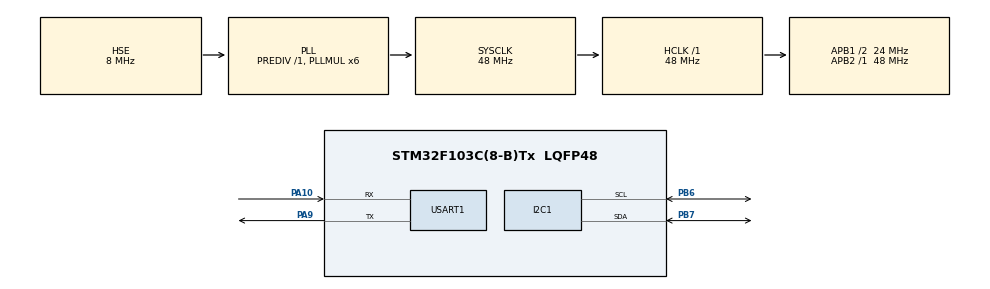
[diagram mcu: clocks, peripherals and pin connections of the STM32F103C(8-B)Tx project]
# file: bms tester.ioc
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FREERTOS.Tasks01=defaultTask,24,128,StartDefaultTask,Default,NULL,Dynamic,NULL,NULL
FREERTOS.configUSE_NEWLIB_REENTRANT=1
FREERTOS.configUSE_TICKLESS_IDLE=1
I2C1.I2C_Mode=I2C_Fast
Mcu.Family=STM32F1
Mcu.Name=STM32F103C(8-B)Tx
Mcu.Package=LQFP48
NVIC.I2C1_EV_IRQn=true\:5\:0\:false\:false\:true\:true\:true\:true\:true
NVIC.PriorityGroup=NVIC_PRIORITYGROUP_4
NVIC.TIM2_IRQn=true\:15\:0\:false\:false\:true\:false\:false\:true\:true
NVIC.TimeBase=TIM2_IRQn
NVIC.TimeBaseIP=TIM2
NVIC.USART1_IRQn=true\:5\:0\:false\:false\:true\:true\:true\:true\:true
PA10.Mode=Asynchronous
PA10.Signal=USART1_RX
PA13.Mode=Serial_Wire
PA13.Signal=SYS_JTMS-SWDIO
PA14.Mode=Serial_Wire
PA14.Signal=SYS_JTCK-SWCLK
PA9.Mode=Asynchronous
PA9.Signal=USART1_TX
PB6.Mode=I2C
PB6.Signal=I2C1_SCL
PB7.Mode=I2C
PB7.Signal=I2C1_SDA
PD0-OSC_IN.Mode=HSE-External-Oscillator
PD0-OSC_IN.Signal=RCC_OSC_IN
PD1-OSC_OUT.Mode=HSE-External-Oscillator
PD1-OSC_OUT.Signal=RCC_OSC_OUT
ProjectManager.HeapSize=0x200
ProjectManager.StackSize=0x400
ProjectManager.TargetToolchain=STM32CubeIDE
RCC.AHBFreq_Value=48000000
RCC.APB1CLKDivider=RCC_HCLK_DIV2
RCC.APB1Freq_Value=24000000
RCC.APB1TimFreq_Value=48000000
RCC.APB2Freq_Value=48000000
RCC.APB2TimFreq_Value=48000000
RCC.HCLKFreq_Value=48000000
RCC.PLLMUL=RCC_PLL_MUL6
RCC.PLLSourceVirtual=RCC_PLLSOURCE_HSE
RCC.SYSCLKFreq_VALUE=48000000
RCC.SYSCLKSource=RCC_SYSCLKSOURCE_PLLCLK
RCC.USBFreq_Value=48000000
USART1.VirtualMode=VM_ASYNC
VP_FREERTOS_VS_CMSIS_V2.Mode=CMSIS_V2
VP_SYS_VS_tim2.Mode=TIM2
board=custom

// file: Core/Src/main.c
/* USER CODE BEGIN Header */
/**
 ******************************************************************************
 * @file           : main.c
 * @brief          : Main program body
 ******************************************************************************
 * @attention
 *
 * Copyright (c) 2025 STMicroelectronics.
 * All rights reserved.
 *
 * This software is licensed under terms that can be found in the LICENSE file
 * in the root directory of this software component.
 * If no LICENSE file comes with this software, it is provided AS-IS.
 *
 ******************************************************************************
 */
/* USER CODE END Header */
#include "main.h"
#include "cmsis_os.h"
#include "i2c.h"
#include "usart.h"
#include "gpio.h"

/* USER CODE BEGIN Includes */
#include "FreeRTOS.h"
#include "task.h"
#include "ssd1306.h"
#include "my_config.h"
/* USER CODE END Includes */

/* USER CODE BEGIN PV */
extern TaskHandle_t dataShowHandle;
// Массив структур
extern BmsData bmsData[];

// Размер буфера для приёма данных указываем максимального размера
uint8_t rxData[RX_BUFSIZE] = { 0, };
/* USER CODE END PV */

void SystemClock_Config(void);
void MX_FREERTOS_Init(void);

int main(void) {

  /* MCU Configuration--------------------------------------------------------*/

  /* Reset of all peripherals, Initializes the Flash interface and the Systick. */
  HAL_Init();

  /* Configure the system clock */
  SystemClock_Config();

  /* Initialize all configured peripherals */
  MX_GPIO_Init();
  MX_I2C1_Init();
  MX_USART1_UART_Init();
  /* USER CODE BEGIN 2 */
  ssd1306_Init();
  HAL_UART_Receive_IT(&huart1, rxData, bmsData[0].rxBufSize);
  /* USER CODE END 2 */

  /* Init scheduler */
  osKernelInitialize(); /* Call init function for freertos objects (in cmsis_os2.c) */
  MX_FREERTOS_Init();

  /* Start scheduler */
  osKernelStart();

  /* We should never get here as control is now taken by the scheduler */

  /* Infinite loop */
  while (1) {

  }
}

void SystemClock_Config(void) {
  RCC_OscInitTypeDef RCC_OscInitStruct = { 0 };
  RCC_ClkInitTypeDef RCC_ClkInitStruct = { 0 };

  /** Initializes the RCC Oscillators according to the specified parameters
   * in the RCC_OscInitTypeDef structure.
   */
  RCC_OscInitStruct.OscillatorType = RCC_OSCILLATORTYPE_HSE;
  RCC_OscInitStruct.HSEState = RCC_HSE_ON;
  RCC_OscInitStruct.HSEPredivValue = RCC_HSE_PREDIV_DIV1;
  RCC_OscInitStruct.HSIState = RCC_HSI_ON;
  RCC_OscInitStruct.PLL.PLLState = RCC_PLL_ON;
  RCC_OscInitStruct.PLL.PLLSource = RCC_PLLSOURCE_HSE;
  RCC_OscInitStruct.PLL.PLLMUL = RCC_PLL_MUL6;
  if (HAL_RCC_OscConfig(&RCC_OscInitStruct) != HAL_OK) {
    Error_Handler();
  }

  /** Initializes the CPU, AHB and APB buses clocks
   */
  RCC_ClkInitStruct.ClockType = RCC_CLOCKTYPE_HCLK | RCC_CLOCKTYPE_SYSCLK | RCC_CLOCKTYPE_PCLK1 | RCC_CLOCKTYPE_PCLK2;
  RCC_ClkInitStruct.SYSCLKSource = RCC_SYSCLKSOURCE_PLLCLK;
  RCC_ClkInitStruct.AHBCLKDivider = RCC_SYSCLK_DIV1;
  RCC_ClkInitStruct.APB1CLKDivider = RCC_HCLK_DIV2;
  RCC_ClkInitStruct.APB2CLKDivider = RCC_HCLK_DIV1;

  if (HAL_RCC_ClockConfig(&RCC_ClkInitStruct, FLASH_LATENCY_1) != HAL_OK) {
    Error_Handler();
  }
}

/* USER CODE BEGIN 4 */
void HAL_UART_RxCpltCallback(UART_HandleTypeDef *huart) {
  if (huart->Instance == USART1) {
    BaseType_t xHigherPriorityTaskWoken = pdFALSE;

    // Отправляем уведомление задаче
    vTaskNotifyGiveFromISR(dataShowHandle, &xHigherPriorityTaskWoken);

    // Если задача taskBatMonitorHandle высокий приоритет, выполняем переключение контекста
    portYIELD_FROM_ISR(xHigherPriorityTaskWoken);
  }
}
/* USER CODE END 4 */

void HAL_TIM_PeriodElapsedCallback(TIM_HandleTypeDef *htim) {
  if (htim->Instance == TIM2) {
    HAL_IncTick();
  }
}

void Error_Handler(void) {
  __disable_irq();
  while (1) {
  }
}

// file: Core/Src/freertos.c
/* USER CODE BEGIN Header */
/**
 ******************************************************************************
 * File Name          : freertos.c
 * Description        : Code for freertos applications
 ******************************************************************************
 * @attention
 *
 * Copyright (c) 2025 STMicroelectronics.
 * All rights reserved.
 *
 * This software is licensed under terms that can be found in the LICENSE file
 * in the root directory of this software component.
 * If no LICENSE file comes with this software, it is provided AS-IS.
 *
 ******************************************************************************
 */
/* USER CODE END Header */

#include "FreeRTOS.h"
#include "task.h"
#include "main.h"
#include "cmsis_os.h"

/* USER CODE BEGIN Includes */
#include <stdio.h>
#include <stdbool.h>
#include <string.h>
#include "semphr.h"
#include "ssd1306.h"
#include "ssd1306_fonts.h"
#include "my_config.h"
/* USER CODE END Includes */

/* USER CODE BEGIN Variables */
// Дескрипторы задач
TaskHandle_t countShowHandle;
TaskHandle_t dataShowHandle;
// Все ошибки складываем в одну переменную
bool isError = false;
// Позиция в структуре адресов запросов
size_t addrCount = 0;

extern UART_HandleTypeDef huart1;
// Массив структур
extern BmsData bmsData[];
// Количество элементов массива bmsData[]
extern const size_t bmsDataCount;
// Размер буфера для приёма данных указываем максимального размера
extern uint8_t rxData[RX_BUFSIZE];

// Счётчик для фонового вывода чисел на экран
uint8_t countFlag = 0;
char strCount[3] = { 0, };
// Первая позиция вывода символа на экран SSD1306
uint8_t x = 0;
uint8_t y = 0;
/* USER CODE END Variables */
/* Definitions for defaultTask */
osThreadId_t defaultTaskHandle;
const osThreadAttr_t defaultTask_attributes = { .name = "defaultTask", .stack_size = 128 * 4, .priority = (osPriority_t) osPriorityNormal, };

/* USER CODE BEGIN FunctionPrototypes */
void vCountShow(void *argument);
void vDataShow(void *argument);
void vTaskSystemReset(void *argument);
/* USER CODE END FunctionPrototypes */

void StartDefaultTask(void *argument);

void MX_FREERTOS_Init(void); /* (MISRA C 2004 rule 8.1) */

/* USER CODE BEGIN PREPOSTSLEEP */
__weak void PreSleepProcessing(uint32_t *ulExpectedIdleTime) {
  /* place for user code */
}

__weak void PostSleepProcessing(uint32_t *ulExpectedIdleTime) {
  /* place for user code */
}
/* USER CODE END PREPOSTSLEEP */

void MX_FREERTOS_Init(void) {

  /* Create the thread(s) */
  /* creation of defaultTask */
  defaultTaskHandle = osThreadNew(StartDefaultTask, NULL, &defaultTask_attributes);

  /* USER CODE BEGIN RTOS_THREADS */
  if (xTaskCreate(vCountShow, NULL, 128, NULL, osPriorityNormal, &countShowHandle) == pdFAIL) {
    isError = true;
  }
  if (xTaskCreate(vDataShow, NULL, 128, NULL, osPriorityNormal, &dataShowHandle) == pdFAIL) {
    isError = true;
  }
  if (xTaskCreate(vTaskSystemReset, "taskSystemReset", 128, NULL, osPriorityHigh, NULL) == pdFAIL) {
    isError = true;
  }
  /* USER CODE END RTOS_THREADS */

}

void StartDefaultTask(void *argument) {
  /* USER CODE BEGIN StartDefaultTask */
  /* Infinite loop */
  for (;;) {
    vTaskDelete(NULL);
  }
  /* USER CODE END StartDefaultTask */
}

/* USER CODE BEGIN Application */

// С периодичностью в 1 секунду показываем на экране значение счётчика
void vCountShow(void *argument) {
  for (;;) {
    // Если данные от BMS не поступили выводим в центре экрана значение счётчика
    strCount[0] = "0123456789ABCDEF"[countFlag >> 4 & 0x0F];
    strCount[1] = "0123456789ABCDEF"[countFlag & 0x0F];
    // Размещаем строку по центру экрана
    x = (SSD1306_WIDTH - strlen(strCount) * Font_16x24.width) / 2;
    y = SSD1306_HEIGHT / 2 - Font_16x24.height / 2;
    ssd1306_SetCursor(x, y);
    ssd1306_Fill(Black);
    ssd1306_WriteString(strCount, Font_16x24, White);
    ssd1306_UpdateScreen();
    countFlag++;

    // Прошёл интервал в 1 секунду, можем сделать запрос по UART
    HAL_UART_Transmit_IT(&huart1, bmsData[addrCount].dataTx, TX_BUFSIZE);

    vTaskDelay(pdMS_TO_TICKS(1000));
  }
}

// Как только данные получены, выводим их на экран
void vDataShow(void *argument) {
  for (;;) {
    ulTaskNotifyTake(pdTRUE, portMAX_DELAY);
    // Получили данные от BMS
    switch (bmsData[addrCount].addr) {
      case 0x17:
        // Версия прошивки BMS
        uint16_t version = (rxData[8] << 8) | rxData[7];
        if (version == 0) {
          // Если число равно 0, выводим нулевую версию
          strcpy(bmsData[addrCount].strRes, "v 0.0.0.0");
        } else {
          bmsData[addrCount].strRes[0] = 'v';
          bmsData[addrCount].strRes[1] = ' ';

          uint8_t j = 2; // Начальный индекс, с которого записываем символы в строковый массив
          bool first = true;

          for (int8_t i = 12; i >= 0; i -= 4) {
            if ((version >> i == 0) && first) {
              // Последовательно отбрасываем первые нули
              continue;
            } else {
              first = false;
            }
            // Преобразуем шестнадцатиричное значение в символ
            bmsData[addrCount].strRes[j++] = "0123456789ABCDEF"[(version) >> i & 0x0F];
            bmsData[addrCount].strRes[j++] = '.';
          }
          // Вместо последней точки ставим символ конца строки
          bmsData[addrCount].strRes[--j] = '\0';
        }
        break;

      case 0x32:
        // Текущее значение остаточной мощности, 0-100%
        uint8_t power = rxData[7];
        snprintf(bmsData[addrCount].strRes, STR_SIZE, "%u %%", power);
        break;
      case 0x31:
        // Текущая остаточная емкость, в mAh
        uint16_t capacity = (rxData[8] << 8) | rxData[7];
        snprintf(bmsData[addrCount].strRes, STR_SIZE, "%u mAh", capacity);
        break;
      case 0x34:
        // Текущее напряжение,  в V
        int16_t voltage = (rxData[8] << 8) | rxData[7];
        snprintf(bmsData[addrCount].strRes, STR_SIZE, "%d,%d V", voltage / 100, voltage % 100);
        break;
      case 0x60:
        // Вендор зашитый в BMS
        uint32_t code = (rxData[7] << 24) | (rxData[8] << 16) | (rxData[9] << 8) | rxData[10];
        strcpy(bmsData[addrCount].strRes, code_to_vendor(code));
        break;
    }
    addrCount++;
    if (addrCount < bmsDataCount) {
      // Снова запускаем чтение данных
      HAL_UART_Receive_IT(&huart1, rxData, bmsData[addrCount].rxBufSize);
      HAL_UART_Transmit_IT(&huart1, bmsData[addrCount].dataTx, TX_BUFSIZE);
    } else {
      // Удаляем задачу вывода значения счётчика
      vTaskDelete(countShowHandle);
      // Выводим на экран все данные полученные от bms
      ssd1306_Fill(Black);

      for (uint8_t i = 0, y = 2; i < 5; i++, y += 13) {
        x = (SSD1306_WIDTH - strlen(bmsData[i].strRes) * Font_7x10.width) / 2;
        ssd1306_SetCursor(x, y);
        ssd1306_WriteString(bmsData[i].strRes, Font_7x10, White);
      }
      ssd1306_UpdateScreen();

      // Отключаем ВСЕ прерывания UART
      __HAL_UART_DISABLE_IT(&huart1, UART_IT_RXNE);  // Приемный буфер не пуст
      __HAL_UART_DISABLE_IT(&huart1, UART_IT_TXE);   // Буфер передачи пуст
      __HAL_UART_DISABLE_IT(&huart1, UART_IT_TC);    // Передача завершена
      __HAL_UART_DISABLE_IT(&huart1, UART_IT_IDLE);  // Линия в состоянии IDLE
      __HAL_UART_DISABLE_IT(&huart1, UART_IT_PE);    // Ошибка четности
      __HAL_UART_DISABLE_IT(&huart1, UART_IT_ERR);   // Ошибка (FE, OE, NE)
      __HAL_UART_DISABLE_IT(&huart1, UART_IT_CTS);   // CTS изменение
      __HAL_UART_DISABLE_IT(&huart1, UART_IT_LBD);   // Break обнаружение
    }
  }
}

// Программный сброс, в случае ошибок при инициализации задач
void vTaskSystemReset(void *argument) {
  for (;;) {
    if (isError) {
      // Запрещаем все маскируемые прерывания
      __disable_irq();
      __set_FAULTMASK(1);
      // Короткая задержка для стабилизации
      for (volatile int i = 0; i < 1000; i++)
        __NOP();
      // Выполняем сброс
      NVIC_SystemReset();
    } else {
      // Если ошибок нет, удаляем текущую задачу
      vTaskDelete(NULL);
    }
  }
}
/* USER CODE END Application */
